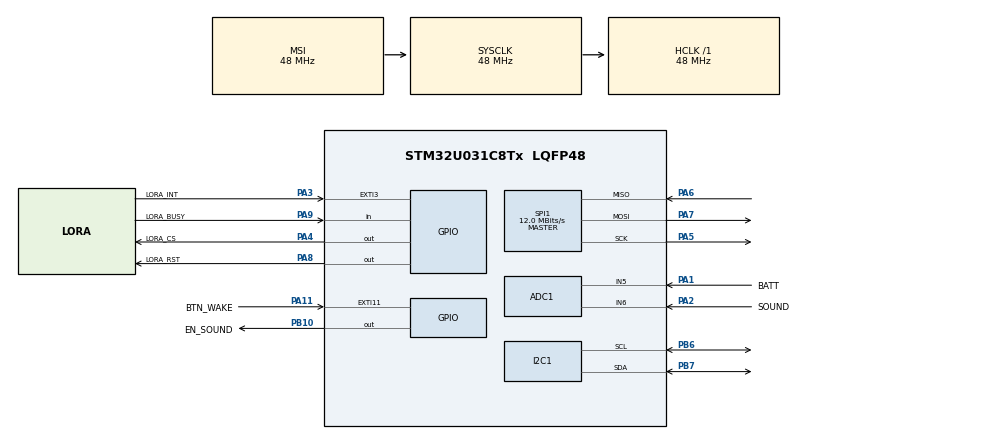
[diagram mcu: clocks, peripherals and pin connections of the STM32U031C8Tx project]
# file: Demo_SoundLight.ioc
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ADC1.Channel-0\#ChannelRegularConversion=ADC_CHANNEL_6
ADC1.NbrOfConversionFlag=1
ADC1.Rank-0\#ChannelRegularConversion=1
ADC1.RankArg-0\#ChannelRegularConversion=ADC_REGULAR_RANK_1
ADC1.SamplingTime-0\#ChannelRegularConversion=ADC_SAMPLINGTIME_COMMON_1
ADC1.SelectedChannel=ADC_CHANNEL_5|ADC_CHANNEL_6
ADC1.master=1
I2C1.Timing=0x20303E5D
Mcu.Family=STM32U0
Mcu.Name=STM32U031C8Tx
Mcu.Package=LQFP48
Mcu.UserConstants=RTC_PREDIV_A,((1<<(15-RTC_N_PREDIV_S))-1);RTC_N_PREDIV_S,10;RTC_PREDIV_S,((1<<RTC_N_PREDIV_S)-1)
NVIC.EXTI2_3_IRQn=true\:0\:0\:false\:false\:true\:true\:true\:true
NVIC.EXTI4_15_IRQn=true\:0\:0\:false\:false\:true\:true\:true\:true
NVIC.PriorityGroup=NVIC_PRIORITYGROUP_2
PA1.GPIO_Label=BATT
PA1.Mode=IN5
PA1.Signal=ADC1_IN5
PA11\ [PA9].GPIO_Label=BTN_WAKE
PA11\ [PA9].GPIO_ModeDefaultEXTI=GPIO_MODE_IT_FALLING
PA11\ [PA9].Signal=GPXTI11
PA13\ (SWDIO).Mode=Serial_Wire
PA13\ (SWDIO).Signal=DEBUG_JTMS-SWDIO
PA14\ (SWCLK).Mode=Serial_Wire
PA14\ (SWCLK).Signal=DEBUG_JTCK-SWCLK
PA2.GPIO_Label=SOUND
PA2.Mode=IN6
PA2.Signal=ADC1_IN6
PA3.GPIO_Label=LORA_INT
PA3.Signal=GPXTI3
PA4.GPIO_Label=LORA_CS
PA4.PinState=GPIO_PIN_SET
PA4.Signal=GPIO_Output
PA5.Mode=Full_Duplex_Master
PA5.Signal=SPI1_SCK
PA6.Mode=Full_Duplex_Master
PA6.Signal=SPI1_MISO
PA7.Mode=Full_Duplex_Master
PA7.Signal=SPI1_MOSI
PA8.GPIO_Label=LORA_RST
PA8.PinState=GPIO_PIN_SET
PA8.Signal=GPIO_Output
PA9.GPIO_Label=LORA_BUSY
PA9.Signal=GPIO_Input
PB10.GPIO_Label=EN_SOUND
PB10.PinState=GPIO_PIN_RESET
PB10.Signal=GPIO_Output
PB6.Mode=I2C
PB6.Signal=I2C1_SCL
PB7.Mode=I2C
PB7.Signal=I2C1_SDA
ProjectManager.HeapSize=0x200
ProjectManager.StackSize=0x400
ProjectManager.TargetToolchain=STM32CubeIDE
RCC.ADCFreq_Value=48000000
RCC.AHBFreq_Value=48000000
RCC.CortexFreq_Value=48000000
RCC.HCLKFreq_Value=48000000
RCC.HSE_VALUE=8000000
RCC.HSI48_VALUE=48000000
RCC.HSI_VALUE=16000000
RCC.LSE_VALUE=32768
RCC.MSIClockRangeVal=RCC_MSIRANGE_11
RCC.MSI_VALUE=48000000
RCC.PLLN=8
RCC.PLLP=RCC_PLLP_DIV8
RCC.PLLQ=RCC_PLLQ_DIV8
RCC.PLLR=RCC_PLLR_DIV4
RCC.PLLSourceVirtual=RCC_PLLSOURCE_MSI
RCC.SYSCLKFreq_VALUE=48000000
RCC.SYSCLKSource=RCC_SYSCLKSOURCE_MSI
RCC.VCOOutputFreq_Value=384000000
SPI1.BaudRatePrescaler=SPI_BAUDRATEPRESCALER_4
SPI1.CalculateBaudRate=12.0 MBits/s
SPI1.DataSize=SPI_DATASIZE_8BIT
SPI1.Direction=SPI_DIRECTION_2LINES
SPI1.Mode=SPI_MODE_MASTER
SPI1.VirtualType=VM_MASTER
VP_PWR_VS_SECSignals.Mode=Security/Privilege
board=custom

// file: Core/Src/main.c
/* USER CODE BEGIN Header */
/**
  ******************************************************************************
  * @file           : main.c
  * @brief          : Main program body
  ******************************************************************************
  * @attention
  *
  * Copyright (c) 2024 STMicroelectronics.
  * All rights reserved.
  *
  * This software is licensed under terms that can be found in the LICENSE file
  * in the root directory of this software component.
  * If no LICENSE file comes with this software, it is provided AS-IS.
  *
  ******************************************************************************
  */
/* USER CODE END Header */
#include "main.h"
#include "adc.h"
#include "i2c.h"
#include "spi.h"
#include "gpio.h"

/* USER CODE BEGIN Includes */
#include "lora/radio/radio.h"
#include "lora/sx126x/sx126x_bsp.h"
#include "lora/sx126x/sx126x.h"
#include "bh1750/bh1750.h"
#include "string.h"
#include "stdio.h"
/* USER CODE END Includes */

/* USER CODE BEGIN PM */
#define RF_FREQUENCY 923000000  // Hz
#define TX_OUTPUT_POWER 22		// dBm
#define LORA_BANDWIDTH 0		// [0: 125 kHz, 1: 250 kHz, 2: 500 kHz, 3: Reserved]
#define LORA_SPREADING_FACTOR 7 // [SF7..SF12]
#define LORA_CODINGRATE 1		// [1: 4/5, 2: 4/6,  3: 4/7,  4: 4/8]
#define LORA_PREAMBLE_LENGTH 8  // Same for Tx and Rx
#define LORA_SYMBOL_TIMEOUT 0   // Symbols
#define LORA_FIX_LENGTH_PAYLOAD_ON false
#define LORA_IQ_INVERSION_ON false
#define BUFFER_SIZE 64 // Define the payload size here

#define ALL_DEVEUI       0xFF
#define SENSOR_DEVEUI    0x74
/* USER CODE END PM */

/* USER CODE BEGIN PV */
typedef enum {
	CMD_UNKNOWN,
	CMD_STATUS,
	CMD_STATUS_DAILY,
	CMD_SET_STANDBY_TIME,
	CMD_ACK,
	CMD_STOP_SENSOR,
	CMD_STATUS_ENDCALLPOINT,
} lora_pktcmd_t;

typedef struct {
	/// Receive flag
	uint8_t recv;
	/// Received signal param
	int16_t rssi;
	int8_t  snr;
	/// Received payload
	uint8_t recvbuffer[BUFFER_SIZE];
	uint8_t recvlen;
	/// Received parse param
	uint8_t deveui;
	lora_pktcmd_t cmd;
	uint8_t value_len;
	uint8_t value[8];
	uint8_t req_ack;
} lora_rxpkt_t;
typedef struct {
	uint8_t deveui;
	lora_pktcmd_t cmd;
	uint8_t value_len;
	uint8_t value[8];
	uint8_t req_ack;
	uint8_t resp_ack;
} lora_txpkt_t;
/* USER CODE END PV */

void SystemClock_Config(void);
/* USER CODE BEGIN PFP */
void OnTxDone(void);
void OnRxDone(uint8_t *payload, uint16_t size, int16_t rssi, int8_t snr);
/* USER CODE END PFP */

/* USER CODE BEGIN 0 */
static RadioEvents_t RadioEvents;

volatile uint8_t start_process = 0;
lora_rxpkt_t rxpkt = {
	.recv = 0,
	.rssi = 0,
	.snr  = 0,
	.recvlen = 0,
	.deveui = 0,
	.cmd = CMD_UNKNOWN,
	.value_len = 0,
	.req_ack = 0,
};
lora_txpkt_t txpkt = {
	.deveui = 0,
	.cmd = CMD_UNKNOWN,
	.value_len = 0,
	.req_ack = 0,
	.resp_ack = 1,
};
uint32_t ack_timeout = 0;
uint32_t standby_time = 0;
uint32_t tick = 0;
uint8_t start_measure = 0;
float light_lux = 0;
uint32_t sound_decibel = 0;
uint32_t batt_volt = 0;

void send_packet(void);
uint32_t adc_get_value(uint32_t channel);
/* USER CODE END 0 */

int main(void)
{

  /* MCU Configuration--------------------------------------------------------*/

  /* Reset of all peripherals, Initializes the Flash interface and the Systick. */
  HAL_Init();

  /* Configure the system clock */
  SystemClock_Config();

  /* Initialize all configured peripherals */
  MX_GPIO_Init();
  MX_SPI1_Init();
//  MX_ADC1_Init();
  MX_I2C1_Init();
  /* USER CODE BEGIN 2 */

  BH1750_Init(&hi2c1);
  BH1750_SetMode(CONTINUOUS_HIGH_RES_MODE_2);

	SX126xIoInit();
	uint16_t readSyncWord = 0;
	SX126xReadRegisters(REG_LR_SYNCWORD, (uint8_t *)&readSyncWord, 2);

	RadioEvents.TxDone = OnTxDone;
	RadioEvents.RxDone = OnRxDone;
	Radio.Init(&RadioEvents);
	Radio.SetChannel(RF_FREQUENCY);
	Radio.SetTxConfig(MODEM_LORA, TX_OUTPUT_POWER, 0, LORA_BANDWIDTH,
					  LORA_SPREADING_FACTOR, LORA_CODINGRATE,
					  LORA_PREAMBLE_LENGTH, LORA_FIX_LENGTH_PAYLOAD_ON,
					  true, 0, 0, LORA_IQ_INVERSION_ON, 0);
	Radio.SetRxConfig(MODEM_LORA, LORA_BANDWIDTH, LORA_SPREADING_FACTOR,
					  LORA_CODINGRATE, 0, LORA_PREAMBLE_LENGTH,
					  LORA_SYMBOL_TIMEOUT, LORA_FIX_LENGTH_PAYLOAD_ON,
					  0, true, 0, 0, LORA_IQ_INVERSION_ON, true);

	Radio.Rx(0);
  /* USER CODE END 2 */

  /* Infinite loop */
  while (1)
  {

    /* USER CODE BEGIN 3 */
	  Radio.BgIrqProcess();

	  if(start_process == 1){
		  if(HAL_GetTick() - tick > standby_time){
			  tick = HAL_GetTick();
			  start_measure = 1;
		  }
	  }

	  if(start_measure == 1 && start_process == 1){
		  if(HAL_GetTick() - tick > 1000){
			  tick = HAL_GetTick();

			  BH1750_ReadLight(&light_lux);
			  sound_decibel = adc_get_value(ADC_CHANNEL_6);
			  batt_volt = adc_get_value(ADC_CHANNEL_5);

			  txpkt.deveui = SENSOR_DEVEUI;
			  txpkt.cmd = CMD_STATUS;
			  txpkt.value_len = 3;
			  txpkt.value[0] = batt_volt;
			  txpkt.value[1] = sound_decibel;
			  txpkt.value[2] = (uint8_t)(light_lux*10.0);
			  txpkt.req_ack = 0;
			  send_packet();
		  }
	  }

	  /// Check ACK timeout
	  if(txpkt.req_ack == 1 && txpkt.resp_ack == 0){
		  if(HAL_GetTick() - ack_timeout > 5000){
			  txpkt.req_ack = 0;
		  }
	  }

	  if(rxpkt.recv == 1){
		  if(rxpkt.deveui == SENSOR_DEVEUI || rxpkt.deveui == ALL_DEVEUI){
			  switch(rxpkt.cmd){
				  case CMD_ACK:
			  		  txpkt.req_ack = 0;
			  		  txpkt.resp_ack = 1;
				  break;
				  case CMD_SET_STANDBY_TIME:
					  standby_time = rxpkt.value[0]*1000;
					  start_process = 1;
					  tick = HAL_GetTick();
				  break;
				  case CMD_STOP_SENSOR:
					  start_process = 0;
					  start_measure = 0;
				  break;
				  default:
				  break;
			  }

			  /// Packet require ACK
			  if(rxpkt.req_ack == 1){
				  txpkt.deveui = rxpkt.deveui;
				  txpkt.cmd = CMD_ACK;
				  txpkt.value_len = 0;
				  txpkt.req_ack = 0;
				  send_packet();
			  }
		  }

		  rxpkt.recv = 0;
		  rxpkt.recvlen = 0;
		  rxpkt.deveui = 0;
		  rxpkt.cmd = CMD_UNKNOWN;
		  rxpkt.value_len = 0;
	  }
  }
  /* USER CODE END 3 */
}

void SystemClock_Config(void)
{
  RCC_OscInitTypeDef RCC_OscInitStruct = {0};
  RCC_ClkInitTypeDef RCC_ClkInitStruct = {0};

  /** Configure the main internal regulator output voltage
  */
  HAL_PWREx_ControlVoltageScaling(PWR_REGULATOR_VOLTAGE_SCALE1);

  /** Initializes the RCC Oscillators according to the specified parameters
  * in the RCC_OscInitTypeDef structure.
  */
  RCC_OscInitStruct.OscillatorType = RCC_OSCILLATORTYPE_MSI;
  RCC_OscInitStruct.MSIState = RCC_MSI_ON;
  RCC_OscInitStruct.MSICalibrationValue = RCC_MSICALIBRATION_DEFAULT;
  RCC_OscInitStruct.MSIClockRange = RCC_MSIRANGE_11;
  RCC_OscInitStruct.PLL.PLLState = RCC_PLL_NONE;
  if (HAL_RCC_OscConfig(&RCC_OscInitStruct) != HAL_OK)
  {
    Error_Handler();
  }

  /** Initializes the CPU, AHB and APB buses clocks
  */
  RCC_ClkInitStruct.ClockType = RCC_CLOCKTYPE_HCLK|RCC_CLOCKTYPE_SYSCLK
                              |RCC_CLOCKTYPE_PCLK1;
  RCC_ClkInitStruct.SYSCLKSource = RCC_SYSCLKSOURCE_MSI;
  RCC_ClkInitStruct.AHBCLKDivider = RCC_SYSCLK_DIV1;
  RCC_ClkInitStruct.APB1CLKDivider = RCC_HCLK_DIV1;

  if (HAL_RCC_ClockConfig(&RCC_ClkInitStruct, FLASH_LATENCY_1) != HAL_OK)
  {
    Error_Handler();
  }
}

/* USER CODE BEGIN 4 */
void HAL_GPIO_EXTI_Rising_Callback(uint16_t GPIO_Pin){
	if(GPIO_Pin == LORA_INT_Pin){
		extern void RadioOnDioIrq(void);
		RadioOnDioIrq();
	}
}

uint32_t adc_get_value(uint32_t channel){
	uint32_t ADCxConvertedValues = 0;
	ADC_ChannelConfTypeDef sConfig = {0};

	MX_ADC1_Init();
	if (HAL_ADCEx_Calibration_Start(&hadc1) != HAL_OK)
		Error_Handler();

	sConfig.Channel = channel;
	sConfig.Rank = ADC_REGULAR_RANK_1;
	sConfig.SamplingTime = ADC_SAMPLINGTIME_COMMON_1;
	if (HAL_ADC_ConfigChannel(&hadc1, &sConfig) != HAL_OK)
		Error_Handler();

	if (HAL_ADC_Start(&hadc1) != HAL_OK)
		Error_Handler();
	HAL_ADC_PollForConversion(&hadc1, HAL_MAX_DELAY);
	HAL_ADC_Stop(&hadc1);
	ADCxConvertedValues = HAL_ADC_GetValue(&hadc1);

	HAL_ADC_DeInit(&hadc1);

	return ADCxConvertedValues;
}

void send_packet(void){
	uint8_t txbuffer[BUFFER_SIZE];

	txpkt.resp_ack = 0;
	txbuffer[0] = txpkt.deveui;
	txbuffer[1] = (uint8_t)txpkt.cmd;
	txbuffer[2] = txpkt.req_ack;
	txbuffer[3] = txpkt.value_len;
	for(uint8_t i=0; i<txpkt.value_len; i++)
		txbuffer[4+i] = txpkt.value[i];

	if(txpkt.req_ack == 1) ack_timeout = HAL_GetTick();

	Radio.Send(txbuffer, 4+txpkt.value_len);
}

void OnTxDone(void){
	Radio.Rx(0);
}

/**@brief Function to be executed on Radio Rx Done event
 */
void OnRxDone(uint8_t *payload, uint16_t size, int16_t rssi, int8_t snr){
	rxpkt.recv = 1;

	rxpkt.rssi = rssi;
	rxpkt.snr = snr;

	rxpkt.recvlen = size;
	memset(rxpkt.recvbuffer, 0, BUFFER_SIZE);
	memcpy(rxpkt.recvbuffer, payload, rxpkt.recvlen);

	rxpkt.deveui = rxpkt.recvbuffer[0];
	rxpkt.cmd = (lora_pktcmd_t)rxpkt.recvbuffer[1];
	rxpkt.req_ack = rxpkt.recvbuffer[2];
	rxpkt.value_len = rxpkt.recvbuffer[3];
	for(uint8_t i=0; i<rxpkt.value_len; i++)
		rxpkt.value[i] = rxpkt.recvbuffer[i+4];
}
/* USER CODE END 4 */

void Error_Handler(void)
{
  __disable_irq();
  while (1)
  {
  }
}
